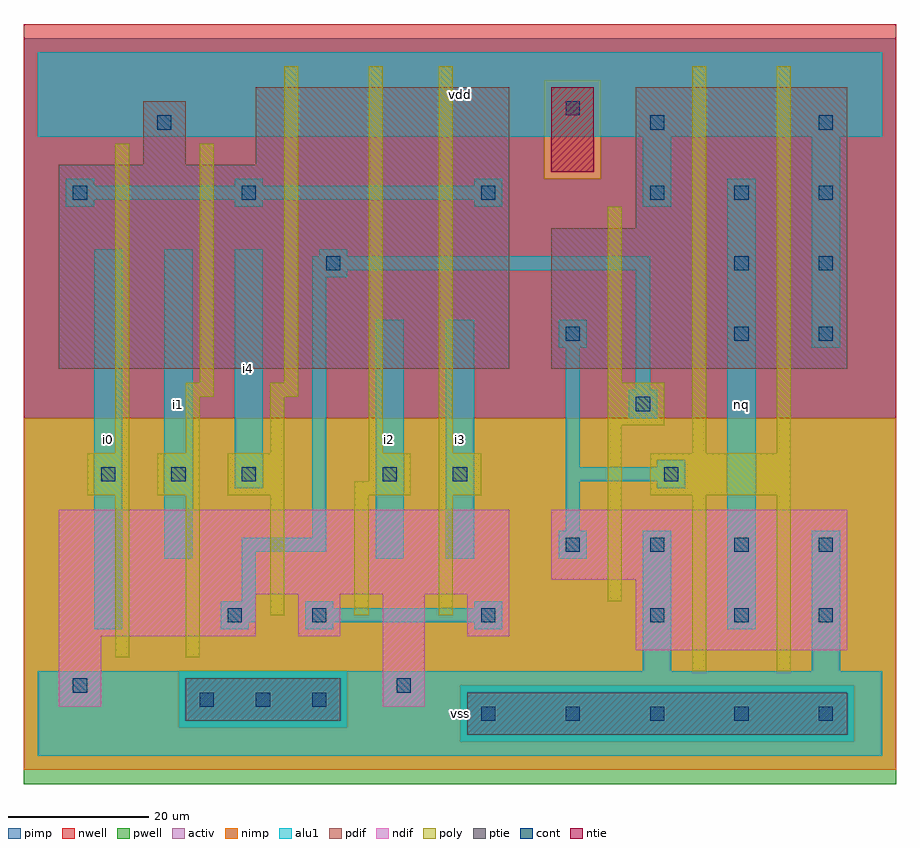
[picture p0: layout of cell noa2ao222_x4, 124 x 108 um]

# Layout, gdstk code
import gdstk
lib = gdstk.Library(unit=1e-6, precision=1e-09)
def R(c, l, rs):  # rectangles x0, y0, x1, y1
    for r in rs: c.add(gdstk.rectangle(r[:2], r[2:], *l))
def A(c, l, x, y, w, h, nx, ny, dx, dy):  # array of equal rectangles
    R(c, l, [(x+i*dx, y+j*dy, x+i*dx+w, y+j*dy+h) for i in range(nx) for j in range(ny)])
ndif = (3, 0)
pdif = (4, 0)
ntie = (5, 0)
ptie = (6, 0)
cont = (25, 0)
pwell = (41, 0)
nwell = (42, 0)
activ = (43, 0)
pimp = (44, 0)
nimp = (45, 0)
poly = (46, 0)
alu1 = (49, 0)

noa2ao222_x4 = lib.new_cell('noa2ao222_x4')
R(noa2ao222_x4, ndif, [(3,7,9,17), (49,7,55,23), (85,15,115,25), (3,17,31,23), (37,17,43,23), (61,17,67,23), (3,23,67,35), (73,25,115,35)])
R(noa2ao222_x4, pdif, [(3,55,67,84), (73,55,115,75), (85,75,115,95), (15,84,21,93), (31,84,67,95)])
R(noa2ao222_x4, ntie, [(73,83,79,95)])
R(noa2ao222_x4, ptie, [(61,3,115,9), (21,5,43,11)])
A(noa2ao222_x4, cont, 63, 5, 2, 2, 5, 1, 12, 0)
A(noa2ao222_x4, cont, 23, 7, 2, 2, 3, 1, 8, 0)
A(noa2ao222_x4, cont, 39, 19, 2, 2, 3, 1, 24, 0)
A(noa2ao222_x4, cont, 75, 29, 2, 2, 4, 1, 12, 0)
A(noa2ao222_x4, cont, 9, 39, 2, 2, 3, 1, 10, 0)
A(noa2ao222_x4, cont, 87, 79, 2, 2, 3, 1, 12, 0)
R(noa2ao222_x4, cont, [(5,9,7,11), (51,9,53,11), (27,19,29,21), (99,19,101,21), (111,19,113,21), (49,39,51,41), (59,39,61,41), (89,39,91,41), (85,49,87,51), (75,59,77,61), (99,59,101,61), (111,59,113,61), (41,69,43,71), (99,69,101,71), (111,69,113,71), (5,79,7,81), (29,79,31,81), (63,79,65,81), (17,89,19,91), (87,89,89,91), (111,89,113,91), (75,91,77,93)])
R(noa2ao222_x4, pwell, [(-2,-4,122,48)])
R(noa2ao222_x4, nwell, [(-2,48,122,104)])
R(noa2ao222_x4, activ, [(61,3,115,9), (21,5,43,11), (3,7,9,17), (49,7,55,23), (85,15,115,25), (3,17,31,23), (37,17,43,23), (61,17,67,23), (3,23,67,35), (73,25,115,35), (3,55,67,84), (73,55,115,75), (85,75,115,95), (73,83,79,95), (15,84,21,93), (31,84,67,95)])
R(noa2ao222_x4, pimp, [(60,2,116,10), (20,4,44,12), (-2,48,122,82), (-2,82,72,96), (80,82,122,96), (-2,96,122,102)])
R(noa2ao222_x4, nimp, [(-2,-2,122,2), (-2,2,60,4), (116,2,122,10), (-2,4,20,12), (44,4,60,10), (44,10,122,12), (-2,12,122,48), (72,82,80,96)])
A(noa2ao222_x4, poly, 33, 20, 2, 17, 3, 1, 12, 0)
R(noa2ao222_x4, poly, [(93,12,95,37), (105,12,107,37), (11,14,13,37), (21,14,23,37), (81,22,83,47), (7,37,13,43), (17,37,23,43), (27,37,35,43), (45,37,53,39), (57,37,63,43), (87,37,107,43), (47,39,53,43), (11,43,13,87), (21,43,23,51), (33,43,35,51), (47,43,49,98), (57,43,59,98), (93,43,95,98), (105,43,107,98), (81,47,89,53), (21,51,25,53), (33,51,37,53), (23,53,25,87), (35,53,37,98), (81,53,83,78)])
R(noa2ao222_x4, alu1, [(0,0,120,12), (86,12,90,32), (110,12,114,32), (8,18,12,72), (26,18,30,19), (38,18,42,19), (62,18,66,19), (98,18,102,82), (26,19,31,22), (38,19,66,21), (38,21,42,22), (62,21,66,22), (29,22,31,29), (18,28,22,72), (48,28,52,62), (58,28,62,62), (74,28,78,32), (29,29,41,31), (39,31,41,68), (75,32,77,39), (28,38,32,72), (88,38,92,39), (75,39,92,41), (75,41,77,58), (88,41,92,42), (84,48,88,52), (85,52,87,69), (74,58,78,62), (110,58,114,88), (39,68,44,69), (39,69,87,71), (40,71,44,72), (4,78,8,79), (28,78,32,79), (62,78,66,79), (86,78,90,88), (4,79,66,81), (4,81,8,82), (28,81,32,82), (62,81,66,82), (0,88,120,100)])
noa2ao222_x4.add(gdstk.Label('i0', (10,45), layer=49, texttype=0))
noa2ao222_x4.add(gdstk.Label('i1', (20,50), layer=49, texttype=0))
noa2ao222_x4.add(gdstk.Label('i4', (30,55), layer=49, texttype=0))
noa2ao222_x4.add(gdstk.Label('vss', (60,6), layer=49, texttype=0))
noa2ao222_x4.add(gdstk.Label('i3', (60,45), layer=49, texttype=0))
noa2ao222_x4.add(gdstk.Label('i2', (50,45), layer=49, texttype=0))
noa2ao222_x4.add(gdstk.Label('vdd', (60,94), layer=49, texttype=0))
noa2ao222_x4.add(gdstk.Label('nq', (100,50), layer=49, texttype=0))

lib.write_gds('noa2ao222_x4.gds')
